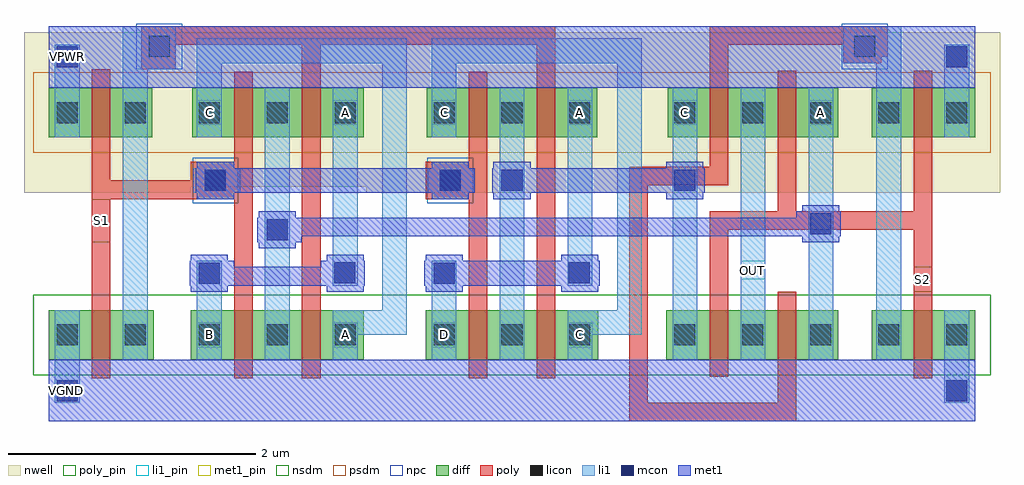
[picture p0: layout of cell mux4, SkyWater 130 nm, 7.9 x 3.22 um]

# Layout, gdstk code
import gdstk
lib = gdstk.Library(unit=1e-6, precision=1e-09)
def R(c, l, rs):  # rectangles x0, y0, x1, y1
    for r in rs: c.add(gdstk.rectangle(r[:2], r[2:], *l))
def A(c, l, x, y, w, h, nx, ny, dx, dy):  # array of equal rectangles
    R(c, l, [(x+i*dx, y+j*dy, x+i*dx+w, y+j*dy+h) for i in range(nx) for j in range(ny)])
nwell = (64, 20)
diff = (65, 20)
poly_pin = (66, 16)
poly = (66, 20)
licon = (66, 44)
li1_pin = (67, 16)
li1 = (67, 20)
mcon = (67, 44)
met1_pin = (68, 16)
met1 = (68, 20)
nsdm = (93, 44)
psdm = (94, 20)
npc = (95, 20)

mux4 = lib.new_cell('mux4')
R(mux4, nwell, [(-0.15,1.85,1.2,1.9), (2.62,1.85,7.75,1.9), (-0.15,1.9,7.75,3.15)])
R(mux4, diff, [(0.05,0.5,0.9,0.9), (1.2,0.5,2.6,0.9), (3.1,0.5,4.5,0.9), (5.05,0.5,6.44,0.9), (6.71,0.5,7.55,0.9), (0.05,2.3,0.89,2.7), (1.21,2.3,2.6,2.7), (3.11,2.3,4.49,2.7), (5.06,2.3,6.44,2.7), (6.71,2.3,7.55,2.7)])
R(mux4, poly_pin, [(7.05,1.05,7.2,1.25), (0.4,1.45,0.55,1.8)])
R(mux4, poly, [(4.75,0,6.1,0.15), (4.75,0.15,4.9,1.91), (5.95,0.15,6.1,1.05), (0.4,0.35,0.55,1.8), (1.55,0.35,1.7,1.8), (2.1,0.35,2.25,3.05), (3.45,0.35,3.6,1.8), (4,0.35,4.15,3.05), (7.05,0.35,7.2,1.55), (5.4,0.36,5.55,1.55), (5.4,1.55,7.2,1.7), (5.95,1.7,6.1,2.84), (7.05,1.7,7.2,2.84), (0.4,1.8,1.7,1.95), (3.1,1.8,3.6,2.1), (4.75,1.91,5.55,2.06), (0.4,1.95,0.55,2.85), (1.2,1.95,1.7,2.1), (5.4,2.06,5.55,3.05), (1.55,2.1,1.7,2.83), (3.45,2.1,3.6,2.83), (0.8,2.85,1.08,3.05), (6.48,2.9,6.79,2.95), (6.48,2.95,6.84,3.05), (0.8,3.05,4.15,3.2), (5.4,3.05,6.84,3.2)])
A(mux4, licon, 1.265, 0.615, 0.17, 0.17, 3, 2, 0.55, 1.8)
A(mux4, licon, 3.165, 0.615, 0.17, 0.17, 3, 2, 0.55, 1.8)
A(mux4, licon, 5.115, 0.615, 0.17, 0.17, 5, 2, 0.55, 1.8)
R(mux4, licon, [(0.115,0.615,0.285,0.785), (0.665,0.615,0.835,0.785), (1.315,1.865,1.485,2.035), (3.215,1.865,3.385,2.035), (0.115,2.415,0.285,2.585), (0.665,2.415,0.835,2.585), (0.86,2.95,1.03,3.12), (6.57,2.95,6.74,3.12)])
R(mux4, li1_pin, [(1.25,0.6,1.45,0.8), (2.35,0.6,2.55,0.8), (3.15,0.6,3.35,0.8), (4.25,0.6,4.45,0.8), (5.65,1.15,5.85,1.3), (1.25,2.4,1.45,2.6), (2.35,2.4,2.55,2.6), (3.15,2.4,3.35,2.6), (4.25,2.4,4.45,2.6), (5.1,2.4,5.3,2.6), (6.2,2.4,6.4,2.6)])
A(mux4, li1, 5.1, 0.5, 0.2, 2.2, 3, 1, 0.55, 0)
R(mux4, li1, [(0.1,0.15,0.3,0.9), (7.3,0.15,7.5,0.9), (0.65,0.5,0.85,2.85), (1.25,0.5,1.45,1.3), (1.8,0.5,2,2.7), (2.35,0.5,2.55,0.7), (3.15,0.5,3.35,1.3), (3.7,0.5,3.9,2.7), (4.25,0.5,4.45,0.7), (6.75,0.5,6.95,2.9), (2.35,0.7,2.95,0.9), (4.25,0.7,4.85,0.9), (2.75,0.9,2.95,2.9), (4.65,0.9,4.85,2.9), (2.35,1.1,2.55,2.7), (4.25,1.1,4.45,2.7), (1.25,1.8,1.55,1.85), (3.15,1.8,3.45,1.85), (1.22,1.85,1.6,2.05), (3.12,1.85,3.5,2.05), (1.25,2.05,1.55,2.1), (3.15,2.05,3.45,2.1), (0.1,2.3,0.3,3.05), (1.25,2.3,1.45,2.9), (3.15,2.3,3.35,2.9), (7.3,2.3,7.5,3.05), (0.65,2.85,1.08,3.2), (1.25,2.9,2.95,3.1), (3.15,2.9,4.85,3.1), (6.48,2.9,6.95,3.2)])
R(mux4, mcon, [(0.115,0.165,0.285,0.335), (7.315,0.165,7.485,0.335), (1.265,1.115,1.435,1.285), (3.165,1.115,3.335,1.285), (2.36,1.12,2.53,1.29), (4.26,1.12,4.43,1.29), (1.815,1.465,1.985,1.635), (6.215,1.515,6.385,1.685), (1.315,1.865,1.485,2.035), (3.215,1.865,3.385,2.035), (3.715,1.865,3.885,2.035), (5.115,1.865,5.285,2.035), (0.115,2.865,0.285,3.035), (7.315,2.865,7.485,3.035)])
R(mux4, met1_pin, [(0.12,0.18,0.27,0.32), (0.12,2.88,0.28,3.03)])
R(mux4, met1, [(0.05,0,7.55,0.5), (1.2,1.05,1.5,1.1), (2.3,1.05,2.6,1.1), (3.1,1.05,3.4,1.1), (4.2,1.05,4.5,1.1), (1.19,1.1,2.61,1.25), (3.09,1.1,4.51,1.3), (1.19,1.25,1.55,1.3), (2.25,1.25,2.61,1.3), (1.2,1.3,1.5,1.35), (2.3,1.3,2.6,1.35), (3.1,1.3,3.4,1.35), (4.2,1.3,4.5,1.35), (1.75,1.4,2.05,1.45), (1.74,1.45,2.1,1.5), (6.15,1.45,6.45,1.5), (1.74,1.5,6.46,1.65), (1.75,1.65,2.05,1.7), (6.1,1.65,6.46,1.7), (6.15,1.7,6.45,1.75), (1.25,1.8,1.55,1.85), (3.15,1.8,3.45,1.85), (3.65,1.8,3.95,1.85), (5.05,1.8,5.35,1.85), (1.24,1.85,3.5,2.05), (3.64,1.85,5.36,2.05), (1.25,2.05,1.55,2.1), (3.15,2.05,3.45,2.1), (3.65,2.05,3.95,2.1), (5.05,2.05,5.35,2.1), (0.05,2.7,7.55,3.2)])
R(mux4, nsdm, [(-0.075,0.375,7.675,1.025)])
R(mux4, psdm, [(-0.075,2.175,7.675,2.825)])
R(mux4, npc, [(1.215,1.765,1.585,2.135), (3.115,1.765,3.485,2.135), (0.76,2.85,1.13,3.22), (6.47,2.85,6.84,3.22)])
mux4.add(gdstk.Label('S1', (0.475,1.625), layer=66, texttype=16))
mux4.add(gdstk.Label('C', (1.35,2.5), layer=67, texttype=16))
mux4.add(gdstk.Label('A', (2.45,2.5), layer=67, texttype=16))
mux4.add(gdstk.Label('C', (3.25,2.5), layer=67, texttype=16))
mux4.add(gdstk.Label('A', (4.35,2.5), layer=67, texttype=16))
mux4.add(gdstk.Label('A', (6.3,2.5), layer=67, texttype=16))
mux4.add(gdstk.Label('C', (5.2,2.5), layer=67, texttype=16))
mux4.add(gdstk.Label('VGND', (0.195,0.25), layer=68, texttype=16))
mux4.add(gdstk.Label('VPWR', (0.2,2.955), layer=68, texttype=16))
mux4.add(gdstk.Label('S2', (7.125,1.15), layer=66, texttype=16))
mux4.add(gdstk.Label('OUT', (5.75,1.225), layer=67, texttype=16))
mux4.add(gdstk.Label('D', (3.25,0.7), layer=67, texttype=16))
mux4.add(gdstk.Label('C', (4.35,0.7), layer=67, texttype=16))
mux4.add(gdstk.Label('A', (2.45,0.7), layer=67, texttype=16))
mux4.add(gdstk.Label('B', (1.35,0.7), layer=67, texttype=16))

lib.write_gds('mux4.gds')
